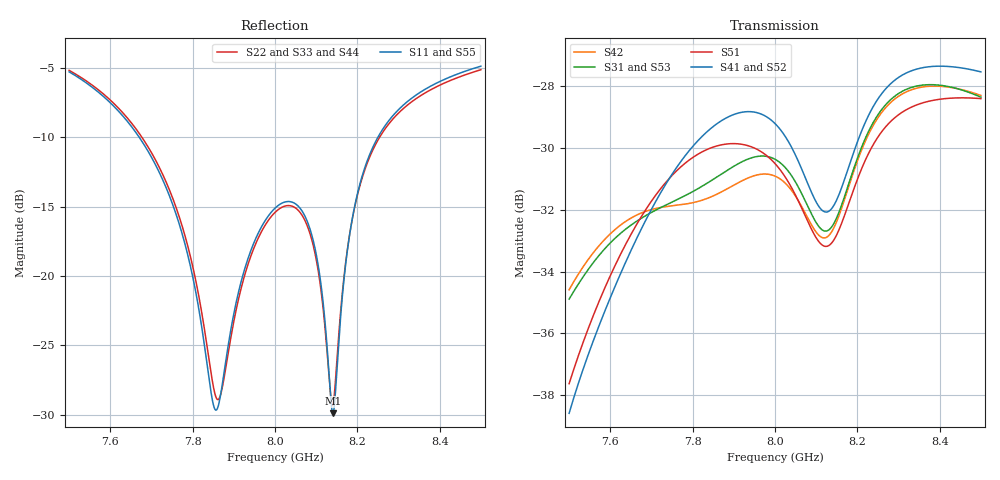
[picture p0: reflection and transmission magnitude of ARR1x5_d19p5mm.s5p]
! Touchstone file exported from HFSS 2025.1.0
!  File:  C:/Users/user/Documents/Ansoft/TFG_UWB-MIMO-Array.aedt
!  Generated:  08:09:02 PM Nov 16, 2026
!  Design:  ARR1x5_US3_PS4_2_1_dparam
!  Project:  TFG_UWB-MIMO-Array
!  Setup:  Setup_ch9
!  Solution:  Sweep_7p5_8p5
! Variables:
!  arr_d = 19.5mm
!  board_m = 13mm
!  board_x = 104mm
!  board_y = 26mm
!  cu_t = 0.035mm
!  line_w = 3.92mm
!  pad_xy = 22mm
!  pad_zn = 25mm
!  pad_zp = 33mm
!  par_L = 7.46mm
!  par_W = 10mm
!  par_yc = 0.75mm
!  par_z = 1.035mm
!  patch_L = 6.222mm
!  patch_W = 11.421266mm
!  sub_h = 2.07mm
!  tr_l = 6.6mm
!  tr_w = 0.8mm
!  u_Lu = 2.65mm
!  u_Wu = 4.4mm
!  u_t = 0.8mm
!  u_y0 = -0.7mm
# GHz S MA R 50.000000
! Terminal data exported
! Port[1] = P1
! Port[2] = P2
! Port[3] = P3
! Port[4] = P4
! Port[5] = P5
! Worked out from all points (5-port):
!   1001 points, 7.5 GHz to 8.5 GHz, reference 50 ohm
!   strongest paths, dB at 7.5 GHz, 7.75 GHz, 8 GHz, 8.25 GHz, 8.5 GHz:
!     S41: -38.6, -30.8, -29.2, -28.4, -27.5
!     S52: -38.6, -30.8, -29.2, -28.4, -27.6
!     S51: -37.6, -30.9, -30.5, -29.6, -28.4
!     S31: -34.9, -31.7, -30.4, -28.9, -28.3
!     S53: -34.7, -31.6, -30.6, -29.1, -28.6
!     S42: -34.6, -31.9, -30.9, -29.0, -28.3
!   lowest |S11| = -29.9 dB at 8.141 GHz (marker M1), VSWR 1.07, Z = 52.7 + j1.92 ohm
!   |S11| at or under -10 dB: 7.67 GHz to 8.25 GHz (579.4 MHz wide, 7.28 % of centre)
